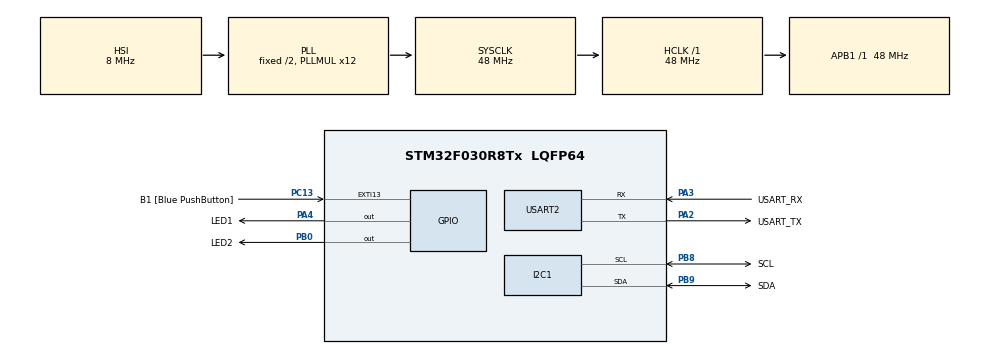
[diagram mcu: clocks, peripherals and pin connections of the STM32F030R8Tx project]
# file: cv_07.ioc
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FREERTOS.Queues01=xVisualQueue,16,uint16_t,0,Dynamic,NULL,NULL
FREERTOS.Tasks01=defaultTask,0,128,StartDefaultTask,Default,NULL,Dynamic,NULL,NULL;VisualTask,0,128,StartVisualTask,Default,NULL,Dynamic,NULL,NULL;AcceleroTask,0,128,StartAcceleroTask,Default,NULL,Dynamic,NULL,NULL
FREERTOS.configUSE_NEWLIB_REENTRANT=1
Mcu.Family=STM32F0
Mcu.Name=STM32F030R8Tx
Mcu.Package=LQFP64
NVIC.TIM14_IRQn=true\:3\:0\:false\:false\:true\:false\:false\:true
NVIC.TimeBase=TIM14_IRQn
NVIC.TimeBaseIP=TIM14
PA13.GPIO_Label=TMS
PA13.Mode=Serial_Wire
PA13.Signal=SYS_SWDIO
PA14.GPIO_Label=TCK
PA14.Mode=Serial_Wire
PA14.Signal=SYS_SWCLK
PA2.GPIO_Label=USART_TX
PA2.GPIO_Mode=GPIO_MODE_AF_PP
PA2.GPIO_PuPd=GPIO_NOPULL
PA2.GPIO_Speed=GPIO_SPEED_FREQ_LOW
PA2.Mode=Asynchronous
PA2.Signal=USART2_TX
PA3.GPIO_Label=USART_RX
PA3.GPIO_Mode=GPIO_MODE_AF_PP
PA3.GPIO_PuPd=GPIO_NOPULL
PA3.GPIO_Speed=GPIO_SPEED_FREQ_LOW
PA3.Mode=Asynchronous
PA3.Signal=USART2_RX
PA4.GPIO_Label=LED1
PA4.GPIO_PuPd=GPIO_PULLUP
PA4.Signal=GPIO_Output
PB0.GPIO_Label=LED2
PB0.GPIO_PuPd=GPIO_PULLUP
PB0.Signal=GPIO_Output
PB8.GPIO_Label=SCL
PB8.Mode=I2C
PB8.Signal=I2C1_SCL
PB9.GPIO_Label=SDA
PB9.Mode=I2C
PB9.Signal=I2C1_SDA
PC13.GPIO_Label=B1 [Blue PushButton]
PC13.GPIO_ModeDefaultEXTI=GPIO_MODE_IT_FALLING
PC13.Signal=GPXTI13
PC14-OSC32_IN.Mode=LSE-External-Oscillator
PC14-OSC32_IN.Signal=RCC_OSC32_IN
PC15-OSC32_OUT.Mode=LSE-External-Oscillator
PC15-OSC32_OUT.Signal=RCC_OSC32_OUT
PF0-OSC_IN.Mode=HSE-External-Clock-Source
PF0-OSC_IN.Signal=RCC_OSC_IN
PF1-OSC_OUT.Signal=RCC_OSC_OUT
ProjectManager.HeapSize=0x200
ProjectManager.StackSize=0x400
ProjectManager.TargetToolchain=STM32CubeIDE
RCC.AHBFreq_Value=48000000
RCC.APB1Freq_Value=48000000
RCC.APB1TimFreq_Value=48000000
RCC.HCLKFreq_Value=48000000
RCC.PLLMUL=RCC_PLL_MUL12
RCC.SYSCLKFreq_VALUE=48000000
RCC.SYSCLKSource=RCC_SYSCLKSOURCE_PLLCLK
USART2.VirtualMode-Asynchronous=VM_ASYNC
VP_FREERTOS_VS_CMSIS_V1.Mode=CMSIS_V1
VP_SYS_VS_tim14.Mode=TIM14
board=NUCLEO-F030R8

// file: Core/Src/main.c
/* USER CODE BEGIN Header */
/**
  ******************************************************************************
  * @file           : main.c
  * @brief          : Main program body
  ******************************************************************************
  * @attention
  *
  * <h2><center>&copy; Copyright (c) 2021 STMicroelectronics.
  * All rights reserved.</center></h2>
  *
  * This software component is licensed by ST under BSD 3-Clause license,
  * the "License"; You may not use this file except in compliance with the
  * License. You may obtain a copy of the License at:
  *                        opensource.org/licenses/BSD-3-Clause
  *
  ******************************************************************************
  */
/* USER CODE END Header */
#include "main.h"
#include "cmsis_os.h"

/* USER CODE BEGIN Includes */
#include "lis2dw12_reg.h"
#include <stdio.h>
/* USER CODE END Includes */

/* USER CODE BEGIN PD */
#define THRESHOLD 1000
/* USER CODE END PD */

I2C_HandleTypeDef hi2c1;

UART_HandleTypeDef huart2;

osThreadId defaultTaskHandle;
osThreadId VisualTaskHandle;
osThreadId AcceleroTaskHandle;
osMessageQId xVisualQueueHandle;

void SystemClock_Config(void);
static void MX_GPIO_Init(void);
static void MX_USART2_UART_Init(void);
static void MX_I2C1_Init(void);
void StartDefaultTask(void const * argument);
void StartVisualTask(void const * argument);
void StartAcceleroTask(void const * argument);

/* USER CODE BEGIN 0 */
static int32_t platform_write(void *handle, uint8_t reg, uint8_t *bufp, uint16_t len);
static int32_t platform_read(void *handle, uint8_t reg, uint8_t *bufp, uint16_t len);
static stmdev_ctx_t lis2dw12 = {
		.write_reg = platform_write,
		.read_reg = platform_read,
		.handle = &hi2c1,
};

int _write(int file, char const *buf, int n)
{
 /* stdout redirection to UART2 */
 HAL_UART_Transmit(&huart2, (uint8_t*)(buf), n, HAL_MAX_DELAY);
 return n;
}
/*
 * Replace the functions "platform_write" and "platform_read" with your
 * platform specific read and write function.
 */
static int32_t platform_write(void *handle, uint8_t reg, uint8_t *bufp, uint16_t len)
{
 HAL_I2C_Mem_Write(handle, LIS2DW12_I2C_ADD_H, reg, I2C_MEMADD_SIZE_8BIT, bufp, len, 1000);
 return 0;
}
static int32_t platform_read(void *handle, uint8_t reg, uint8_t *bufp, uint16_t len)
{
 HAL_I2C_Mem_Read(handle, LIS2DW12_I2C_ADD_H, reg, I2C_MEMADD_SIZE_8BIT, bufp, len, 1000);
 return 0;
}
/* USER CODE END 0 */

int main(void)
{

  /* MCU Configuration--------------------------------------------------------*/

  /* Reset of all peripherals, Initializes the Flash interface and the Systick. */
  HAL_Init();

  /* Configure the system clock */
  SystemClock_Config();

  /* Initialize all configured peripherals */
  MX_GPIO_Init();
  MX_USART2_UART_Init();
  MX_I2C1_Init();

  /* Create the queue(s) */
  /* definition and creation of xVisualQueue */
  osMessageQDef(xVisualQueue, 16, uint16_t);
  xVisualQueueHandle = osMessageCreate(osMessageQ(xVisualQueue), NULL);

  /* Create the thread(s) */
  /* definition and creation of defaultTask */
  osThreadDef(defaultTask, StartDefaultTask, osPriorityNormal, 0, 128);
  defaultTaskHandle = osThreadCreate(osThread(defaultTask), NULL);

  /* definition and creation of VisualTask */
  osThreadDef(VisualTask, StartVisualTask, osPriorityNormal, 0, 128);
  VisualTaskHandle = osThreadCreate(osThread(VisualTask), NULL);

  /* definition and creation of AcceleroTask */
  osThreadDef(AcceleroTask, StartAcceleroTask, osPriorityNormal, 0, 128);
  AcceleroTaskHandle = osThreadCreate(osThread(AcceleroTask), NULL);

  /* Start scheduler */
  osKernelStart();

  /* We should never get here as control is now taken by the scheduler */
  /* Infinite loop */
  while (1)
  {

  }
}

void SystemClock_Config(void)
{
  RCC_OscInitTypeDef RCC_OscInitStruct = {0};
  RCC_ClkInitTypeDef RCC_ClkInitStruct = {0};
  RCC_PeriphCLKInitTypeDef PeriphClkInit = {0};

  /** Initializes the RCC Oscillators according to the specified parameters
  * in the RCC_OscInitTypeDef structure.
  */
  RCC_OscInitStruct.OscillatorType = RCC_OSCILLATORTYPE_HSI;
  RCC_OscInitStruct.HSIState = RCC_HSI_ON;
  RCC_OscInitStruct.HSICalibrationValue = RCC_HSICALIBRATION_DEFAULT;
  RCC_OscInitStruct.PLL.PLLState = RCC_PLL_ON;
  RCC_OscInitStruct.PLL.PLLSource = RCC_PLLSOURCE_HSI;
  RCC_OscInitStruct.PLL.PLLMUL = RCC_PLL_MUL12;
  RCC_OscInitStruct.PLL.PREDIV = RCC_PREDIV_DIV1;
  if (HAL_RCC_OscConfig(&RCC_OscInitStruct) != HAL_OK)
  {
    Error_Handler();
  }
  /** Initializes the CPU, AHB and APB buses clocks
  */
  RCC_ClkInitStruct.ClockType = RCC_CLOCKTYPE_HCLK|RCC_CLOCKTYPE_SYSCLK
                              |RCC_CLOCKTYPE_PCLK1;
  RCC_ClkInitStruct.SYSCLKSource = RCC_SYSCLKSOURCE_PLLCLK;
  RCC_ClkInitStruct.AHBCLKDivider = RCC_SYSCLK_DIV1;
  RCC_ClkInitStruct.APB1CLKDivider = RCC_HCLK_DIV1;

  if (HAL_RCC_ClockConfig(&RCC_ClkInitStruct, FLASH_LATENCY_1) != HAL_OK)
  {
    Error_Handler();
  }
  PeriphClkInit.PeriphClockSelection = RCC_PERIPHCLK_I2C1;
  PeriphClkInit.I2c1ClockSelection = RCC_I2C1CLKSOURCE_HSI;
  if (HAL_RCCEx_PeriphCLKConfig(&PeriphClkInit) != HAL_OK)
  {
    Error_Handler();
  }
}

static void MX_I2C1_Init(void)
{

  hi2c1.Instance = I2C1;
  hi2c1.Init.Timing = 0x2000090E;
  hi2c1.Init.OwnAddress1 = 0;
  hi2c1.Init.AddressingMode = I2C_ADDRESSINGMODE_7BIT;
  hi2c1.Init.DualAddressMode = I2C_DUALADDRESS_DISABLE;
  hi2c1.Init.OwnAddress2 = 0;
  hi2c1.Init.OwnAddress2Masks = I2C_OA2_NOMASK;
  hi2c1.Init.GeneralCallMode = I2C_GENERALCALL_DISABLE;
  hi2c1.Init.NoStretchMode = I2C_NOSTRETCH_DISABLE;
  if (HAL_I2C_Init(&hi2c1) != HAL_OK)
  {
    Error_Handler();
  }
  /** Configure Analogue filter
  */
  if (HAL_I2CEx_ConfigAnalogFilter(&hi2c1, I2C_ANALOGFILTER_ENABLE) != HAL_OK)
  {
    Error_Handler();
  }
  /** Configure Digital filter
  */
  if (HAL_I2CEx_ConfigDigitalFilter(&hi2c1, 0) != HAL_OK)
  {
    Error_Handler();
  }

}

static void MX_USART2_UART_Init(void)
{

  huart2.Instance = USART2;
  huart2.Init.BaudRate = 38400;
  huart2.Init.WordLength = UART_WORDLENGTH_8B;
  huart2.Init.StopBits = UART_STOPBITS_1;
  huart2.Init.Parity = UART_PARITY_NONE;
  huart2.Init.Mode = UART_MODE_TX_RX;
  huart2.Init.HwFlowCtl = UART_HWCONTROL_NONE;
  huart2.Init.OverSampling = UART_OVERSAMPLING_16;
  huart2.Init.OneBitSampling = UART_ONE_BIT_SAMPLE_DISABLE;
  huart2.AdvancedInit.AdvFeatureInit = UART_ADVFEATURE_NO_INIT;
  if (HAL_UART_Init(&huart2) != HAL_OK)
  {
    Error_Handler();
  }

}

static void MX_GPIO_Init(void)
{
  GPIO_InitTypeDef GPIO_InitStruct = {0};

  /* GPIO Ports Clock Enable */
  __HAL_RCC_GPIOC_CLK_ENABLE();
  __HAL_RCC_GPIOF_CLK_ENABLE();
  __HAL_RCC_GPIOA_CLK_ENABLE();
  __HAL_RCC_GPIOB_CLK_ENABLE();

  /*Configure GPIO pin Output Level */
  HAL_GPIO_WritePin(LED1_GPIO_Port, LED1_Pin, GPIO_PIN_RESET);

  /*Configure GPIO pin Output Level */
  HAL_GPIO_WritePin(LED2_GPIO_Port, LED2_Pin, GPIO_PIN_RESET);

  /*Configure GPIO pin : B1_Pin */
  GPIO_InitStruct.Pin = B1_Pin;
  GPIO_InitStruct.Mode = GPIO_MODE_IT_FALLING;
  GPIO_InitStruct.Pull = GPIO_NOPULL;
  HAL_GPIO_Init(B1_GPIO_Port, &GPIO_InitStruct);

  /*Configure GPIO pin : LED1_Pin */
  GPIO_InitStruct.Pin = LED1_Pin;
  GPIO_InitStruct.Mode = GPIO_MODE_OUTPUT_PP;
  GPIO_InitStruct.Pull = GPIO_PULLUP;
  GPIO_InitStruct.Speed = GPIO_SPEED_FREQ_LOW;
  HAL_GPIO_Init(LED1_GPIO_Port, &GPIO_InitStruct);

  /*Configure GPIO pin : LED2_Pin */
  GPIO_InitStruct.Pin = LED2_Pin;
  GPIO_InitStruct.Mode = GPIO_MODE_OUTPUT_PP;
  GPIO_InitStruct.Pull = GPIO_PULLUP;
  GPIO_InitStruct.Speed = GPIO_SPEED_FREQ_LOW;
  HAL_GPIO_Init(LED2_GPIO_Port, &GPIO_InitStruct);

}

void StartDefaultTask(void const * argument)
{
  for(;;)
  {
    osDelay(1);
  }
}

void StartVisualTask(void const * argument)
{
  /* USER CODE BEGIN StartVisualTask */
	/* Infinite loop */
	for(;;)
	{
		osDelay(1);
		int16_t msgrx;
		if (xQueueReceive(xVisualQueueHandle, &msgrx, portMAX_DELAY)) {
			if (msgrx<=-THRESHOLD){
				HAL_GPIO_WritePin(LED1_GPIO_Port, LED1_Pin, 1);
				HAL_GPIO_WritePin(LED2_GPIO_Port, LED2_Pin, 0);
			}else if (msgrx>=THRESHOLD){
				HAL_GPIO_WritePin(LED2_GPIO_Port, LED2_Pin, 1);
				HAL_GPIO_WritePin(LED1_GPIO_Port, LED1_Pin, 0);
			}else {
				HAL_GPIO_WritePin(LED2_GPIO_Port, LED2_Pin, 0);
				HAL_GPIO_WritePin(LED1_GPIO_Port, LED1_Pin, 0);
			}
		}
	}

  /* USER CODE END StartVisualTask */
}

void StartAcceleroTask(void const * argument)
{
  /* USER CODE BEGIN StartAcceleroTask */
  /* Infinite loop */
	uint8_t whoamI = 0;
	lis2dw12_device_id_get(&lis2dw12, &whoamI);
	printf("LIS2DW12_ID %s\n", (whoamI == LIS2DW12_ID) ? "OK" : "FAIL");
	osDelay(1000);
	lis2dw12_full_scale_set(&lis2dw12, LIS2DW12_2g);
	lis2dw12_power_mode_set(&lis2dw12, LIS2DW12_CONT_LOW_PWR_LOW_NOISE_2);
	lis2dw12_block_data_update_set(&lis2dw12, PROPERTY_ENABLE);
	lis2dw12_fifo_mode_set(&lis2dw12, LIS2DW12_STREAM_MODE); // enable continuous FIFO
	lis2dw12_data_rate_set(&lis2dw12, LIS2DW12_XL_ODR_25Hz); // enable part from power-down
	uint32_t tick;
  for(;;)
  {
	  /* int16_t msgtx;
	  osDelay(1);
	  xQueueSend(xVisualQueueHandle, &msgtx, 0);
	  osDelay(300);
	  msgtx=-5000;
	  xQueueSend(xVisualQueueHandle, &msgtx, 0);
	  osDelay(300);
	  msgtx=0;
	  xQueueSend(xVisualQueueHandle, &msgtx, 0);
	  osDelay(300);
	  msgtx=5000;
	  xQueueSend(xVisualQueueHandle, &msgtx, 0);
	  osDelay(300);
	  msgtx=0;
	   */
	  // Check device ID

	  uint8_t samples;
	  int16_t raw_acceleration[3];
	  lis2dw12_fifo_data_level_get(&lis2dw12, &samples);
	  for (uint8_t i = 0; i < samples; i++) {
		  // Read acceleration data
		  lis2dw12_acceleration_raw_get(&lis2dw12, raw_acceleration);
		  // printf("X=%d Y=%d Z=%d\n", raw_acceleration[0], raw_acceleration[1], raw_acceleration[2]);

	  }
	  xQueueSend(xVisualQueueHandle, &raw_acceleration, 0);
	  osDelay(50);
	  if (HAL_GetTick() > (tick + 1000)) {
		  printf("X=%d Y=%d Z=%d\n", raw_acceleration[0], raw_acceleration[1], raw_acceleration[2]);
		  tick = HAL_GetTick();
	  }

  }

  /* USER CODE END StartAcceleroTask */
}

void HAL_TIM_PeriodElapsedCallback(TIM_HandleTypeDef *htim)
{
  if (htim->Instance == TIM14) {
    HAL_IncTick();
  }
}

void Error_Handler(void)
{
  __disable_irq();
  while (1)
  {
  }
}

/************************ (C) COPYRIGHT STMicroelectronics *****END OF FILE****/
